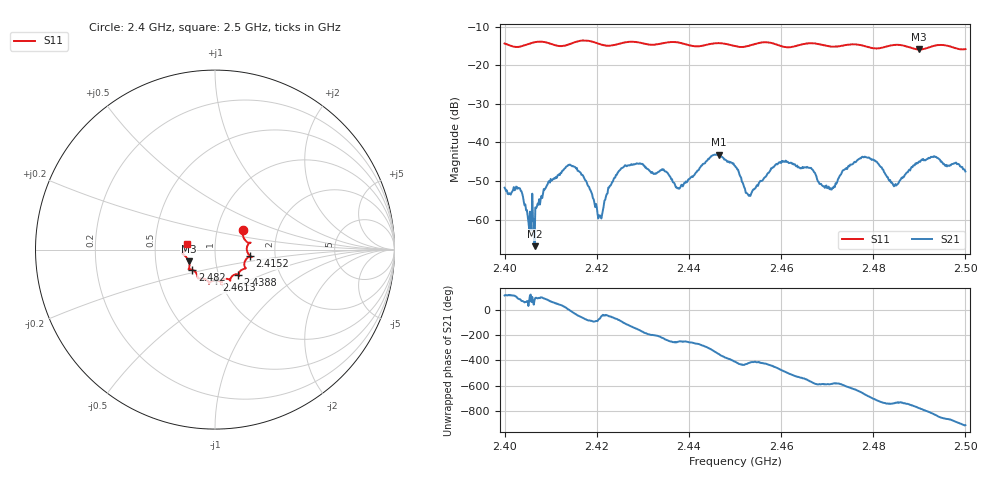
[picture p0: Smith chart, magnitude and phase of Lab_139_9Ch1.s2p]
# Hz S RI R 50
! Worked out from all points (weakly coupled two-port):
!   601 points, 2.4 GHz to 2.5 GHz, reference 50 ohm
!   highest |S21| = -43.15 dB at 2.4465 GHz (marker M1); lowest = -66.9 dB at 2.4065 GHz (marker M2)
!   lowest |S11| = -15.9 dB at 2.4898 GHz (marker M3), VSWR 1.38, Z = 37 - j5.03 ohm
!   |S11| at or under -10 dB: start of sweep to end of sweep
!   S12 and S22 are empty: the file has one direction only
!   S11 on the Smith chart (normalised r, x): 2.4 GHz: 1.33, +0.31; 2.4152 GHz: 1.48, -0.11; 2.4388 GHz: 1.24, -0.36; 2.4613 GHz: 0.96, -0.34; 2.482 GHz: 0.76, -0.18; 2.5 GHz: 0.73, +0.05
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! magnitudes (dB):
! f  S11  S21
! 2.4 GHz  -14.4  -51.7
! 2.403 GHz  -15.2  -51.8
! 2.4053 GHz  -14.4  -62.5
! 2.4065 GHz  -14.0  -66.9
! 2.4095 GHz  -14.2  -50.2
! 2.4152 GHz  -14.1  -46.3
! 2.4167 GHz  -13.6  -48.4
! 2.4207 GHz  -14.5  -58.9
! 2.4257 GHz  -14.2  -46.5
! 2.4333 GHz  -14.5  -47.7
! 2.4388 GHz  -14.4  -50.9
! 2.4465 GHz  -14.3  -43.1
! 2.45 GHz  -15.0  -46.1
! 2.453 GHz  -15.0  -53.9
! 2.4613 GHz  -15.3  -45.0
! 2.4667 GHz  -14.3  -46.9
! 2.4705 GHz  -15.1  -52.1
! 2.4777 GHz  -14.9  -43.7
! 2.482 GHz  -15.4  -47.0
! 2.4833 GHz  -15.0  -49.7
! 2.4898 GHz  -15.9  -45.1
! 2.5 GHz  -15.8  -47.5
